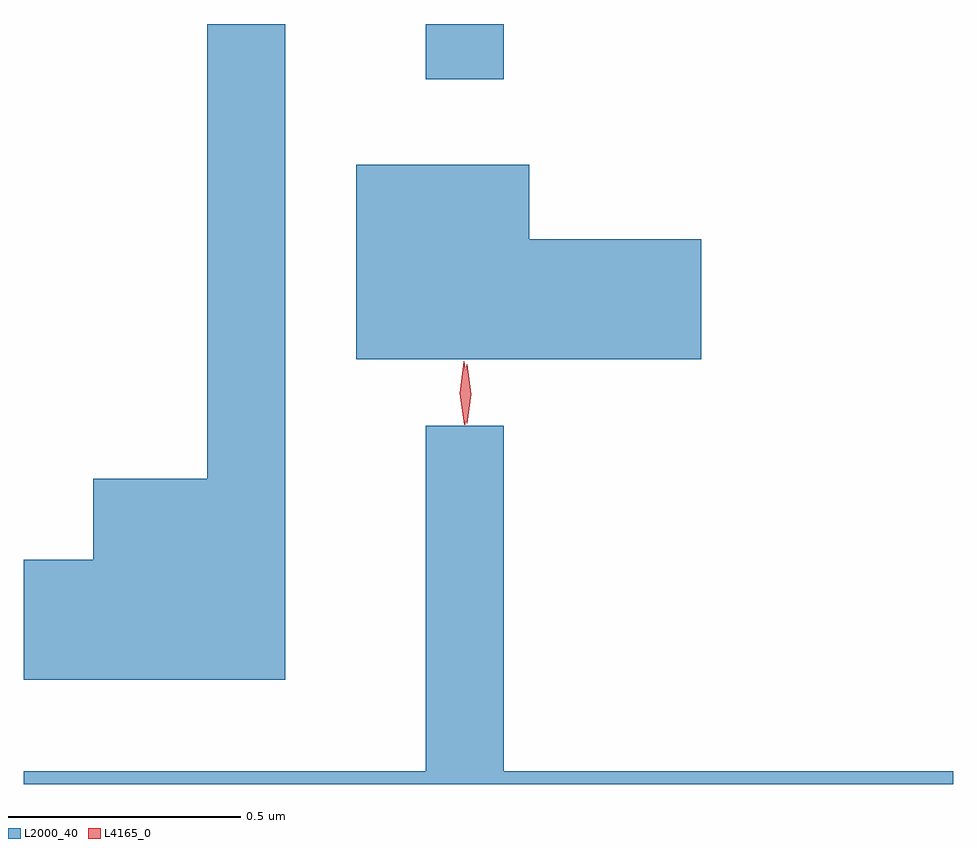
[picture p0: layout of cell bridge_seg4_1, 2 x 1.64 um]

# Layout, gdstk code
import gdstk
lib = gdstk.Library(unit=1e-6, precision=1e-09)
def R(c, l, rs):  # rectangles x0, y0, x1, y1
    for r in rs: c.add(gdstk.rectangle(r[:2], r[2:], *l))
def P(c, l, *ps):  # polygons
    for p in ps: c.add(gdstk.Polygon(p, *l))
L2000_40 = (2000, 40)
L4165_0 = (4165, 0)

bridge_seg4_1 = lib.new_cell('bridge_seg4_1')
R(bridge_seg4_1, L2000_40, [(1195.771,1391.953,1195.939,1392.072)])
P(bridge_seg4_1, L2000_40, [(1195.469,1392.072),(1195.301,1392.072),(1195.301,1391.094),(1195.056,1391.094),(1195.056,1390.919),(1194.906,1390.919),(1194.906,1390.661),(1195.469,1390.661)],
  [(1196.364,1391.609),(1195.994,1391.609),(1195.994,1391.769),(1195.621,1391.769),(1195.621,1391.351),(1196.364,1391.351)],
  [(1196.906,1390.464),(1195.939,1390.464),(1195.939,1391.208),(1195.771,1391.208),(1195.771,1390.464),(1194.906,1390.464),(1194.906,1390.437),(1196.906,1390.437)])
P(bridge_seg4_1, L4165_0, [(1195.854,1391.21),(1195.844,1391.278),(1195.853,1391.346),(1195.854,1391.346),(1195.854,1391.346),(1195.864,1391.278),(1195.856,1391.21),(1195.855,1391.21)],
  [(1195.859,1391.213),(1195.85,1391.276),(1195.859,1391.34),(1195.86,1391.34),(1195.86,1391.34),(1195.869,1391.276),(1195.86,1391.213),(1195.86,1391.213)])

lib.write_gds('bridge_seg4_1.gds')
